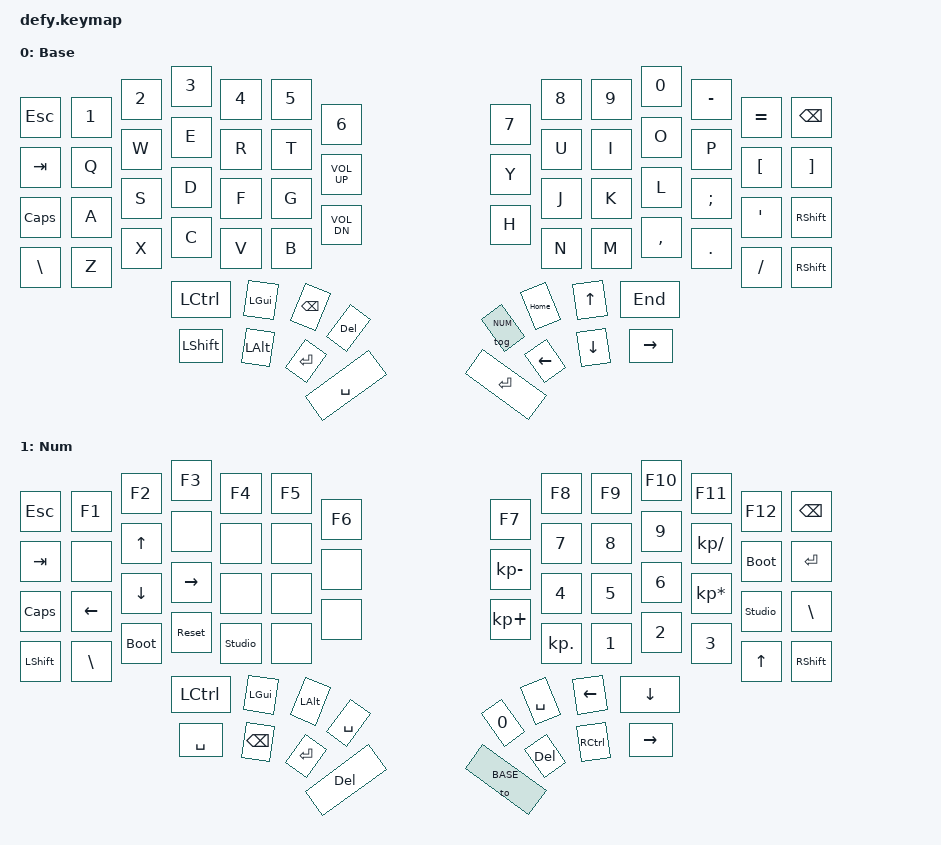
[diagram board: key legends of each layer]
/*
 * The board's default keymap: the layout built into Dygma's firmware. Bazecor
 * installs a different default, which config/defy_neuron.keymap follows. The
 * halves, the Studio test and a Neuron whose config has no keymap use this one.
 *
 * Changes from the layout in Dygma's firmware:
 * - The LED-effect key (right thumb, upper inner) toggles the NUM layer, which
 *   stock firmware only reaches through Bazecor.
 * - NUM has &bootloader, &sys_reset and &studio_unlock on unused left keys,
 *   and &bootloader and &studio_unlock again on unused right keys.
 * - Eight reserved layers, which ZMK Studio can turn into new layers. Ten in
 *   all, as in Bazecor.
 *
 * SPDX-License-Identifier: MIT
 */

#include <behaviors.dtsi>
#include <dt-bindings/zmk/keys.h>

#define BASE 0
#define NUM 1

/ {
    keymap {
        compatible = "zmk,keymap";

        base_layer {
            display-name = "Base";
            bindings = <
&kp ESC   &kp N1 &kp N2 &kp N3 &kp N4 &kp N5 &kp N6          &kp N7 &kp N8 &kp N9    &kp N0  &kp MINUS &kp EQUAL &kp BSPC
&kp TAB   &kp Q  &kp W  &kp E  &kp R  &kp T  &kp C_VOL_UP    &kp Y  &kp U  &kp I     &kp O   &kp P     &kp LBKT  &kp RBKT
&kp CAPS  &kp A  &kp S  &kp D  &kp F  &kp G  &kp C_VOL_DN    &kp H  &kp J  &kp K     &kp L   &kp SEMI  &kp SQT   &kp RSHFT
&kp BSLH  &kp Z  &kp X  &kp C  &kp V  &kp B                         &kp N  &kp M     &kp COMMA &kp DOT &kp FSLH  &kp RSHFT
&kp LCTRL &kp LGUI &kp BSPC &kp DEL                                         &tog NUM  &kp HOME &kp UP  &kp END
&kp LSHFT &kp LALT &kp RET  &kp SPACE                                       &kp RET &kp LEFT &kp DOWN &kp RIGHT
            >;
        };

        num_layer {
            display-name = "Num";
            bindings = <
&kp ESC   &kp F1   &kp F2   &kp F3    &kp F4  &kp F5 &kp F6    &kp F7       &kp F8 &kp F9 &kp F10 &kp F11         &kp F12 &kp BSPC
&kp TAB   &none    &kp UP   &none     &none   &none  &none     &kp KP_MINUS &kp N7 &kp N8 &kp N9  &kp KP_DIVIDE   &bootloader    &kp RET
&kp CAPS  &kp LEFT &kp DOWN &kp RIGHT &none   &none  &none     &kp KP_PLUS  &kp N4 &kp N5 &kp N6  &kp KP_MULTIPLY &studio_unlock &kp BSLH
&kp LSHFT &kp BSLH &bootloader &sys_reset &studio_unlock &none                &kp KP_DOT   &kp N1 &kp N2 &kp N3  &kp UP  &kp RSHFT
&kp LCTRL &kp LGUI &kp LALT &kp SPACE                                       &kp N0    &kp SPACE &kp LEFT &kp DOWN
&kp SPACE &kp BSPC &kp RET  &kp DEL                                         &to BASE &kp DEL &kp RCTRL &kp RIGHT
            >;
        };

        layer_2 { status = "reserved"; };
        layer_3 { status = "reserved"; };
        layer_4 { status = "reserved"; };
        layer_5 { status = "reserved"; };
        layer_6 { status = "reserved"; };
        layer_7 { status = "reserved"; };
        layer_8 { status = "reserved"; };
        layer_9 { status = "reserved"; };
    };
};
